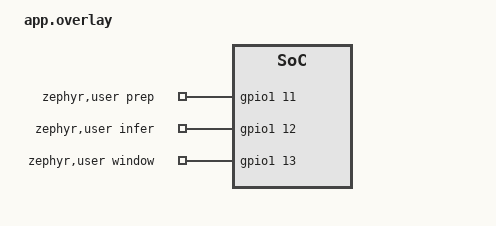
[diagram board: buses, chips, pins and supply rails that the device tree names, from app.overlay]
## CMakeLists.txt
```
# SPDX-License-Identifier: Apache-2.0

cmake_minimum_required(VERSION 3.20.0)

find_package(Zephyr REQUIRED HINTS $ENV{ZEPHYR_BASE})
project(torus_early_exit)

target_sources(app PRIVATE src/main.c src/ee_math.c src/ee_pipeline.cpp src/ee_tflm_compat.cpp)
# ee_tflm_compat.cpp: int16 TRANSPOSE for TFLM 48613f7 (used only by int16 builds, i.e. TinierHAR; the linker drops
# it from the int8 builds).

# ee_math.c implements the arithmetic shared with the Python host reference
# (EE_INTERFACE.md, including TinierHAR's float32 C tail): keep multiply-adds unfused so its rounding matches the host.
set_source_files_properties(src/ee_math.c PROPERTIES COMPILE_OPTIONS "-ffp-contract=off")

# As in Zephyr's own TFLM samples: Zephyr does not support the C++ ABI for thread-safe
# initialisation of function-local statics, so turn the guards off (ee_pipeline.cpp has
# no function-local statics; this keeps libsupc++'s guard / exception code out of the image).
set(NO_THREADSAFE_STATICS $<TARGET_PROPERTY:compiler-cpp,no_threadsafe_statics>)
zephyr_compile_options($<$<COMPILE_LANGUAGE:CXX>:${NO_THREADSAFE_STATICS}>)

# Backbone / option selection from the west command line (always build pristine, -p):
#   west build -b nrf54l15dk/nrf54l15/cpuapp -p -- -DEE_BACKBONE=DCL -DEE_FORCE_EXIT=2
# EE_BACKBONE is TCN (default), TINIERHAR or DCL; the other options are the macros
# documented in src/ee_select.h. To hard-wire a backbone here instead, use e.g.
#   target_compile_definitions(app PRIVATE EE_BACKBONE_DCL)
# west builds with sysbuild by default (NCS 3.x). A -D after "--" then goes to the sysbuild
# cache, not to this application's CMake cache, so a plain if(DEFINED EE_BACKBONE) would
# never see it and the build would silently keep the defaults. zephyr_get() reads the
# sysbuild cache (EE_X or <image>_EE_X), then the CMake cache (--no-sysbuild), then the
# environment.
zephyr_get(EE_BACKBONE)
if(DEFINED EE_BACKBONE)
  if(NOT EE_BACKBONE MATCHES "^(TCN|TINIERHAR|DCL)$")
    message(FATAL_ERROR "EE_BACKBONE must be TCN, TINIERHAR or DCL (got '${EE_BACKBONE}')")
  endif()
  target_compile_definitions(app PRIVATE EE_BACKBONE_${EE_BACKBONE})
  message(STATUS "Early-exit firmware: EE_BACKBONE=${EE_BACKBONE} (from the command line)")
else()
  message(STATUS "Early-exit firmware: EE_BACKBONE not given, src/ee_select.h decides (TCN unless edited)")
endif()
foreach(opt EE_FORCE_EXIT EE_SELF_TEST EE_INFERENCE_IDLE_MS EE_WARMUP_ITERATIONS
            EE_USE_WINDOW_MARKER EE_LOG_BREAKDOWN EE_PART_TIMER_DWT)
  zephyr_get(${opt})
  if(DEFINED ${opt})
    target_compile_definitions(app PRIVATE ${opt}=${${opt}})
    message(STATUS "Early-exit firmware: ${opt}=${${opt}} (from the command line)")
  endif()
endforeach()
```

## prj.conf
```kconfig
# TensorFlow Lite Micro configuration for activity recognition project
CONFIG_CPP=y
CONFIG_REQUIRES_FULL_LIBC=y
CONFIG_TENSORFLOW_LITE_MICRO=y
CONFIG_TENSORFLOW_LITE_MICRO_CMSIS_NN_KERNELS=y
CONFIG_STD_CPP17=y
CONFIG_NEWLIB_LIBC=y
CONFIG_CMSIS_NN=y
CONFIG_MAIN_STACK_SIZE=8192
CONFIG_FPU=y
CONFIG_CBPRINTF_FP_SUPPORT=y
CONFIG_FPU_SHARING=y
CONFIG_LOG_MODE_IMMEDIATE=y
CONFIG_CMSIS_NN_LSTM=y
CONFIG_CMSIS_NN_ACTIVATION=y
CONFIG_CMSIS_NN_BASICMATH=y
CONFIG_CMSIS_NN_CONCATENATION=y
CONFIG_CMSIS_NN_CONVOLUTION=y
CONFIG_CMSIS_NN_FULLYCONNECTED=y
CONFIG_CMSIS_NN_NNSUPPORT=y
CONFIG_CMSIS_NN_POOLING=y
CONFIG_CMSIS_NN_RESHAPE=y
CONFIG_CMSIS_NN_SOFTMAX=y
CONFIG_CMSIS_NN_SVD=y

# LOG
CONFIG_LOG=y
CONFIG_USE_SEGGER_RTT=y
CONFIG_LOG_BACKEND_RTT=y
CONFIG_LOG_BACKEND_UART=n
CONFIG_RTT_CONSOLE=n
CONFIG_STDOUT_CONSOLE=n
CONFIG_SEGGER_RTT_BUFFER_SIZE_UP=4096  
CONFIG_LOG_BUFFER_SIZE=8192
CONFIG_UART_CONSOLE=n
CONFIG_CONSOLE=n
CONFIG_SERIAL=n

# Enable GPIO
CONFIG_GPIO=y
CONFIG_I2C=y
CONFIG_SPI=y

# Enable multithread
CONFIG_MULTITHREADING=y

# Enable DSP
CONFIG_CMSIS_DSP=y
CONFIG_CMSIS_DSP_FILTERING=y
CONFIG_CMSIS_DSP_TRANSFORM=y
CONFIG_CMSIS_DSP_STATISTICS=y
CONFIG_CMSIS_DSP_FASTMATH=y
CONFIG_RING_BUFFER=y

# Stack sizes
CONFIG_ISR_STACK_SIZE=1536
CONFIG_IDLE_STACK_SIZE=512
CONFIG_SYSTEM_WORKQUEUE_STACK_SIZE=1536

CONFIG_PM_DEVICE=y
CONFIG_USB_DEVICE_STACK=n
CONFIG_RAM_POWER_DOWN_LIBRARY=y 
CONFIG_PM=y
CONFIG_PM_DEVICE_RUNTIME=y

# nRF54L boards enable nRF Security (PSA crypto, CRACEN) by default for the RNG; this firmware uses no
# cryptography or entropy, so leave it out: ~110 fewer build steps, -6.6 KB flash, -1.6 KB RAM.
CONFIG_NRF_SECURITY=n
```

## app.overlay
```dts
/*
 * Board overlay: PPK2 marker GPIOs for the nRF54L15 DK.
 *
 * Three outputs are exposed under /zephyr,user:
 *   prep-gpios    — high during preprocessing
 *   infer-gpios   — high during inference
 *   window-gpios  — toggles once per measurement window (optional)
 *
 * Pins: P1.11 / P1.12 / P1.13 on the nRF54L15 DK. P1.11 and P1.12 are not
 * used by any node in the NCS 3.0.2 board files. P1.13 IS push button 0
 * (sw0, button0 in nrf54l15dk_common.dtsi, pull-up, active low): the gpio-keys
 * driver is not enabled in prj.conf (no CONFIG_INPUT), so nothing else drives
 * it, but pressing button 0 shorts the window marker to GND -- do not press
 * it during a PPK2 capture, or move window-gpios to a free pin. Verify
 * against YOUR board pinout and adjust the pin numbers before flashing; if
 * the port/pin belongs to another node in the base DTS, you will also need
 * to disable that node.
 *
 * To use a pin on gpio0 or gpio2 instead of gpio1, change the phandle
 * (&gpio0 / &gpio1 / &gpio2) and pin number accordingly.
 *
 * If you rename this file with a board-specific suffix (e.g.
 * nrf54l15dk_nrf54l15_cpuapp.overlay), Zephyr applies it automatically
 * for that board only — useful once you port to other targets.
 */

/ {
	zephyr,user {
		prep-gpios   = <&gpio1 11  GPIO_ACTIVE_HIGH>;
		infer-gpios  = <&gpio1 12  GPIO_ACTIVE_HIGH>;
		window-gpios = <&gpio1 13 GPIO_ACTIVE_HIGH>;
	};
};
```

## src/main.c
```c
/*
 * TORUS early-exit HAR benchmark -- nRF54L15 DK
 * ============================================
 *
 * Deployment characterisation of the early-exit pipeline of the paper:
 * a rotation-trained backbone (TCN-Small, TinierHAR or DeepConvLSTM-0.25,
 * chosen in ee_select.h) trained on TORUS-9, cut at three taps into four
 * TFLite Micro stage models (int8 weights; int8 activations, or int16 for
 * TinierHAR), with a stats-pooling + linear "rotation-fitted" head after
 * each of the first three stages and per-exit entropy thresholds
 * (lambda = 0.4).  TinierHAR's BiGRU + attention + dense layers run after
 * stage 4 as a float32 C tail (ee_math.c).  All constants come from the
 * headers that export_ee_firmware.py generates (see README_EE.md and
 * EE_INTERFACE.md).
 *
 * Purpose: flash footprint, tensor-arena RAM, per-window latency of
 * preprocessing and of the early-exit inference, and per-window energy on
 * the PPK2.  Input is synthetic (seeded LCG, bounded, per channel uniform in
 * mean +- 3 std of the training scaler) to remove the sensor pipeline from
 * the measurement.  Synthetic windows are far from the training data, so the
 * thresholds will mostly let them run to the final exit; build with
 * EE_FORCE_EXIT = 0..3 to measure each exit path, and with EE_SELF_TEST = 1
 * to check exits / classes / entropies on real windows against the host.
 *
 * What is measured
 * ----------------
 *   prep   : per-channel standardisation of one raw window (float [t][c]),
 *            x_std = (raw - mean) / std.  Nothing else.
 *   infer  : ee_run(): input quantisation, the stage invokes that run, the
 *            exit heads that are evaluated, the requantisations between
 *            stages, the C tail after stage 4 (TinierHAR, final exit only)
 *            and the exit decision.  The per-part breakdown line reports
 *            each part; "other" is the remainder (timer reads, mutex,
 *            argmax, loop overhead).
 * What is NOT measured
 * --------------------
 *   - Window acquisition (the synthetic generator runs before the prep
 *     marker goes high).
 *   - Pressure detrending: channel 7 of TORUS-9 is *detrended* barometric
 *     pressure.  Detrending is done offline on the host before
 *     standardisation and is NOT part of the preprocessing measured here;
 *     the synthetic generator produces already-detrended values.  A real
 *     deployment needs an on-line detrending filter, whose cost is extra.
 *   - Logging (happens after both markers are low).
 *
 * GPIO ordering for PPK2: gpio_set -> k_cycle_get -> work -> k_cycle_get
 * -> gpio_clear.  The cycle-counter region is strictly enclosed by the
 * GPIO-high region, so the two measurements agree to within ~1-2 us
 * (two gpio_pin_set_dt calls).  A larger mismatch signals an interrupted
 * measurement window; flag and discard such iterations in post-processing.
 *
 * Two clocks (both named at start-up, after ee_init):
 *   - prep / infer (headline line): k_cycle_get_32() ticks (system timer, the
 *     1 MHz GRTC on the nRF54L15), converted with k_cyc_to_us_floor32(), whole
 *     microseconds, as in the previous benchmark.
 *   - the per-part breakdown line: ticks of the part timer chosen by ee_init()
 *     (ee_part_timer_hz(): the 128 MHz DWT cycle counter with
 *     EE_PART_TIMER_DWT = 1, else k_cycle_get_32()), printed in 0.1 us.
 */

#include <math.h>
#include <stdarg.h>
#include <stdbool.h>
#include <stddef.h>
#include <stdint.h>
#include <string.h>
#include <zephyr/kernel.h>
#include <zephyr/device.h>
#include <zephyr/logging/log.h>
#include <zephyr/sys/printk.h>
#include <zephyr/drivers/gpio.h>
#include <zephyr/pm/device.h>
#include "ram_pwrdn.h"

#include "ee_select.h"
#include EE_CONFIG_HEADER
#include "ee_math.h"
#include "ee_pipeline.h"
#if EE_SELF_TEST
#include EE_TESTVEC_HEADER
#endif

LOG_MODULE_REGISTER(torus_ee, LOG_LEVEL_INF);

#define WINDOW_ELEMS (EE_WINDOW_SAMPLES * EE_NUM_CHANNELS)

/* -------------------- GPIO markers for PPK2 -------------------- */

static const struct gpio_dt_spec prep_gpio =
    GPIO_DT_SPEC_GET(DT_PATH(zephyr_user), prep_gpios);
static const struct gpio_dt_spec infer_gpio =
    GPIO_DT_SPEC_GET(DT_PATH(zephyr_user), infer_gpios);
#if EE_USE_WINDOW_MARKER
static const struct gpio_dt_spec window_gpio =
    GPIO_DT_SPEC_GET(DT_PATH(zephyr_user), window_gpios);
static bool window_marker_ok;
#endif

static int init_marker_gpios(void)
{
    if (!gpio_is_ready_dt(&prep_gpio) || !gpio_is_ready_dt(&infer_gpio)) {
        LOG_ERR("Marker GPIOs not ready");
        return -1;
    }
    gpio_pin_configure_dt(&prep_gpio, GPIO_OUTPUT_INACTIVE);
    gpio_pin_configure_dt(&infer_gpio, GPIO_OUTPUT_INACTIVE);
#if EE_USE_WINDOW_MARKER
    if (!gpio_is_ready_dt(&window_gpio)) {
        LOG_WRN("Window marker GPIO not ready (non-fatal)");
        window_marker_ok = false;
    } else {
        gpio_pin_configure_dt(&window_gpio, GPIO_OUTPUT_INACTIVE);
        window_marker_ok = true;
    }
#endif
    return 0;
}

/* -------------------- Synthetic input generator --------------------
 *
 * Seeded LCG -- reproducible across runs (same constants and seed as the
 * previous single-model benchmark).  Each channel c is uniform in
 * [mean[c] - 3 std[c], mean[c] + 3 std[c]] of the training scaler, so the
 * standardised input lies in [-3, 3].  The compute graph executes the same
 * operations regardless of input value; with early exits, however, WHICH
 * exit is taken depends on the input, hence EE_FORCE_EXIT for per-path
 * measurements.
 */

#define SYNTH_SEED 0x12345678u

static uint32_t rng_state = SYNTH_SEED;

static inline float next_random_float(float min_val, float max_val)
{
    rng_state = rng_state * 1103515245u + 12345u;
    float r = (float)((rng_state >> 16) & 0x7FFF) / 32767.0f;
    return min_val + r * (max_val - min_val);
}

static void fill_window_synthetic(float *raw)
{
    for (int t = 0; t < EE_WINDOW_SAMPLES; t++) {
        for (int c = 0; c < EE_NUM_CHANNELS; c++) {
            const float half = 3.0f * EE_SCALER_STD[c];
            raw[t * EE_NUM_CHANNELS + c] =
                next_random_float(EE_SCALER_MEAN[c] - half, EE_SCALER_MEAN[c] + half);
        }
    }
}

/* -------------------- Static buffers -------------------- */

/* Raw window, [t][c] (acc xyz, gyro xyz, detrended pressure for TORUS-9). */
static float raw_window[WINDOW_ELEMS];

/* Standardised window consumed by ee_run(). */
static float x_std[WINDOW_ELEMS];

/* -------------------- Logging helpers -------------------- */

static const char *exit_name(int k)
{
    static const char *const names[EE_PIPE_NUM_STAGES] = {"1", "2", "3", "final"};
    return (k >= 0 && k < EE_PIPE_NUM_STAGES) ? names[k] : "none";
}

static const char *class_name(int c)
{
    return (c >= 0 && c < EE_NUM_CLASSES) ? EE_CLASS_NAMES[c] : "?";
}

/* Bounded append into a log line (integers and strings only).  Uses
 * Zephyr's vsnprintk (cbprintf, the formatter the logger already links)
 * rather than newlib's vsnprintf, which would add its own float-capable
 * printf core to the measured flash footprint. */
static void __attribute__((format(printf, 4, 5)))
line_append(char *buf, size_t cap, size_t *len, const char *fmt, ...)
{
    if (*len + 1 >= cap) {
        return;
    }
    va_list ap;
    va_start(ap, fmt);
    const int n = vsnprintk(buf + *len, cap - *len, fmt, ap);
    va_end(ap);
    if (n > 0) {
        *len += (size_t)n;
        if (*len >= cap) {
            *len = cap - 1;
        }
    }
}

#if EE_LOG_BREAKDOWN
/* 1 when the selected backbone ends in the float32 C tail (set from
 * ee_get_info() in log_startup): the breakdown then reports "tail" after
 * stage 4 for windows that reach the final exit. */
static bool s_has_c_tail;

/* Entropy as "d.ddd" without float formatting. */
static void append_entropy(char *buf, size_t cap, size_t *len, const char *label, float h)
{
    const long mh = lroundf(h * 1000.0f);
    line_append(buf, cap, len, " %s=%ld.%03ld", label, mh / 1000, mh % 1000);
}

/* Timer ticks at hz ticks/s -> tenths of a microsecond, rounded to nearest
 * (64-bit intermediate: ticks * 10^7 < 2^56; saturates at UINT32_MAX, i.e.
 * after 429 s, far beyond one window). */
static uint32_t ticks_to_tenth_us(uint32_t ticks, uint32_t hz)
{
    if (hz == 0u) {
        return 0u;
    }
    const uint64_t t = ((uint64_t)ticks * 10000000u + hz / 2u) / hz;
    return (t > UINT32_MAX) ? UINT32_MAX : (uint32_t)t;
}

/* " <label>=<us>.<tenth>" from tenths of a microsecond (integer formatting,
 * vsnprintk-compatible). */
static void append_tenth_us(char *buf, size_t cap, size_t *len, const char *label,
                            uint32_t tenths)
{
    line_append(buf, cap, len, " %s=%u.%u", label, (unsigned int)(tenths / 10u),
                (unsigned int)(tenths % 10u));
}

/* infer_cycles: k_cycle_get_32() ticks of the whole ee_run() (the headline
 * infer value); the parts are in part-timer ticks (ee_part_timer_hz()). */
static void log_breakdown(const ee_result_t *r, uint32_t infer_cycles)
{
    const uint32_t part_hz = ee_part_timer_hz();
    char buf[320];
    char label[16];
    size_t len = 0;
    uint64_t parts = 0; /* sum of the printed parts, tenths of a us */
    uint32_t t;

    buf[0] = '\0';
    line_append(buf, sizeof(buf), &len, "  parts us:");
    t = ticks_to_tenth_us(r->cycles_quant, part_hz);
    append_tenth_us(buf, sizeof(buf), &len, "quant", t);
    parts += t;
    line_append(buf, sizeof(buf), &len, " |");
    for (int s = 0; s < r->stages_run && s < EE_PIPE_NUM_STAGES; s++) {
        snprintk(label, sizeof(label), "stage%d", s + 1);
        t = ticks_to_tenth_us(r->cycles_stage[s], part_hz);
        append_tenth_us(buf, sizeof(buf), &len, label, t);
        parts += t;
    }
    if (s_has_c_tail && r->exit_taken == EE_PIPE_EXIT_FINAL) {
        t = ticks_to_tenth_us(r->cycles_tail, part_hz);
        append_tenth_us(buf, sizeof(buf), &len, "tail", t);
        parts += t;
    }
    line_append(buf, sizeof(buf), &len, " |");
    for (int k = 0; k < EE_PIPE_NUM_EARLY_EXITS; k++) {
        if (r->entropy[k] >= 0.0f) {
            snprintk(label, sizeof(label), "head%d", k + 1);
            t = ticks_to_tenth_us(r->cycles_head[k], part_hz);
            append_tenth_us(buf, sizeof(buf), &len, label, t);
            parts += t;
        }
    }
    line_append(buf, sizeof(buf), &len, " |");
    for (int k = 0; k + 1 < r->stages_run && k < EE_PIPE_NUM_EARLY_EXITS; k++) {
        snprintk(label, sizeof(label), "requant%d-%d", k + 1, k + 2);
        t = ticks_to_tenth_us(r->cycles_requant[k], part_hz);
        append_tenth_us(buf, sizeof(buf), &len, label, t);
        parts += t;
    }
    /* other = infer - sum(parts), clamped at 0.  infer comes from
     * k_cycle_get_32() (1 us ticks on the GRTC) and the parts from the part
     * timer (the DWT cycle counter by default): with two clocks, and infer
     * quantised to whole ticks, "other" is approximate to about +-1 us. */
    const uint32_t infer_t = ticks_to_tenth_us(infer_cycles,
                                               (uint32_t)sys_clock_hw_cycles_per_sec());
    const uint32_t other = ((uint64_t)infer_t > parts) ? (uint32_t)(infer_t - parts) : 0u;
    line_append(buf, sizeof(buf), &len, " |");
    append_tenth_us(buf, sizeof(buf), &len, "other", other);
    line_append(buf, sizeof(buf), &len, " |");
    for (int k = 0; k < EE_PIPE_NUM_EARLY_EXITS; k++) {
        if (r->entropy[k] >= 0.0f) {
            snprintk(label, sizeof(label), "H%d", k + 1);
            append_entropy(buf, sizeof(buf), &len, label, r->entropy[k]);
        }
    }
    LOG_INF("%s", buf);
}
#endif

static void log_startup(void)
{
    ee_info_t info;
    char buf[256];
    size_t len = 0;

    ee_get_info(&info);

    LOG_INF("TORUS early-exit HAR benchmark (synthetic input)");
    LOG_INF("  Backbone      : %s (%s, LOSO subject %d)", EE_BACKBONE_NAME, EE_DATASET_NAME,
            (int)EE_SUBJECT);
    LOG_INF("  Window        : %d samples x %d channels @ %d Hz", EE_WINDOW_SAMPLES,
            EE_NUM_CHANNELS, EE_SAMPLE_RATE_HZ);
    LOG_INF("  Activations   : int%d stage I/O and activations, int8 weights%s", info.act_bits,
            (info.act_bits == 16) ? " (TFLite 16x8)" : "");
    if (info.has_c_tail) {
        LOG_INF("  C tail        : stage 4 output %d x %d -> BiGRU(%d per direction) + attention + "
                "dense, float32 (%u parameters, %u B buffers)",
                info.tail_t, info.tail_d, info.tail_h, info.tail_params, info.tail_ram_bytes);
    } else {
        LOG_INF("  C tail        : none (stage 4 ends at the backbone's softmax)");
    }
#if EE_LOG_BREAKDOWN
    s_has_c_tail = (info.has_c_tail != 0);
#endif

    buf[0] = '\0';
    for (int c = 0; c < EE_NUM_CHANNELS; c++) {
        line_append(buf, sizeof(buf), &len, "%s%s", c ? ", " : "", EE_CHANNEL_NAMES[c]);
    }
    LOG_INF("  Channels      : %s", buf);

    len = 0;
    buf[0] = '\0';
    for (int c = 0; c < EE_NUM_CLASSES; c++) {
        line_append(buf, sizeof(buf), &len, "%s%s", c ? ", " : "", EE_CLASS_NAMES[c]);
    }
    LOG_INF("  Classes (%d)   : %s", EE_NUM_CLASSES, buf);

    LOG_INF("  Policy        : lambda = %s, thresholds searched on '%s' validation windows",
            info.lambda_str, info.threshold_set);
    for (int k = 0; k < EE_PIPE_NUM_EARLY_EXITS; k++) {
        if (info.exit_enabled[k]) {
            LOG_INF("  Exit %d        : enabled, stop if H < %.4f nats | tap %d x %d | "
                    "%.4f MFLOP",
                    k + 1, (double)info.threshold[k], info.tap_t[k], info.tap_p[k],
                    (double)(info.exit_flops[k] * 1e-6f));
        } else {
            LOG_INF("  Exit %d        : disabled (head never evaluated) | tap %d x %d | "
                    "%.4f MFLOP",
                    k + 1, info.tap_t[k], info.tap_p[k], (double)(info.exit_flops[k] * 1e-6f));
        }
    }
    LOG_INF("  Exit final    : %.4f MFLOP (backbone alone %.4f MFLOP)",
            (double)(info.exit_flops[EE_PIPE_EXIT_FINAL] * 1e-6f),
            (double)(info.full_flops * 1e-6f));

#if EE_FORCE_EXIT < 0
    LOG_INF("  Force exit    : off (entropy thresholds decide)");
#else
    LOG_INF("  Force exit    : always leave at exit %s (enabled heads before it are evaluated)",
            exit_name(EE_FORCE_EXIT));
#if EE_FORCE_EXIT < EE_PIPE_EXIT_FINAL
    if (!info.exit_enabled[EE_FORCE_EXIT]) {
        LOG_WRN("  exit %s is disabled in this policy; its head is evaluated only because it "
                "is forced", exit_name(EE_FORCE_EXIT));
    }
#endif
#endif
    LOG_INF("  Self-test     : %s", EE_SELF_TEST ? "on" : "off");
    LOG_INF("  Idle / warm-up: %d ms between windows, %d warm-up windows",
            EE_INFERENCE_IDLE_MS, EE_WARMUP_ITERATIONS);
}

/* Logged after ee_init(), which chooses the part timer. */
static void log_timers(void)
{
    LOG_INF("  Timers        : prep/infer = k_cycle_get_32 @ %u Hz (us); "
            "parts = %s @ %u Hz (0.1 us)",
            (unsigned int)sys_clock_hw_cycles_per_sec(), ee_part_timer_name(),
            (unsigned int)ee_part_timer_hz());
}

/* -------------------- Self-test against host reference -------------------- */

#if EE_SELF_TEST
static void run_self_test(void)
{
    int exits_ok = 0;
    int classes_ok = 0;
    int labels_ok = 0;
    int eval_set_mismatch = 0;
    int run_errors = 0;
    float max_dh = 0.0f;

    LOG_INF("self-test: %d vectors (thresholds decide; EE_FORCE_EXIT not applied)",
            EE_TV_COUNT);

    for (int i = 0; i < EE_TV_COUNT; i++) {
        ee_result_t r;

        ee_standardise(EE_TV_RAW[i], EE_SCALER_MEAN, EE_SCALER_STD, EE_WINDOW_SAMPLES,
                       EE_NUM_CHANNELS, x_std);
        const int rc = ee_run(x_std, -1, &r);
        if (rc != 0) {
            LOG_ERR("tv %d: ee_run failed (%d)", i, rc);
            run_errors++;
            continue;
        }

        const bool exit_ok = (r.exit_taken == EE_TV_EXIT[i]);
        const bool class_ok = (r.predicted_class == EE_TV_CLASS[i]);
        bool set_ok = true;
        float dh = 0.0f;
        for (int k = 0; k < EE_PIPE_NUM_EARLY_EXITS; k++) {
            const bool exp_eval = (EE_TV_ENTROPY[i][k] >= 0.0f);
            const bool got_eval = (r.entropy[k] >= 0.0f);
            if (exp_eval != got_eval) {
                set_ok = false;
            } else if (exp_eval) {
                const float d = fabsf(r.entropy[k] - EE_TV_ENTROPY[i][k]);
                if (d > dh) {
                    dh = d;
                }
            }
        }
        if (dh > max_dh) {
            max_dh = dh;
        }
        exits_ok += exit_ok ? 1 : 0;
        classes_ok += class_ok ? 1 : 0;
        labels_ok += (r.predicted_class == EE_TV_LABEL[i]) ? 1 : 0;
        eval_set_mismatch += set_ok ? 0 : 1;

        LOG_INF("tv %2d: label %s | exit %s (host %s) | class %s (host %s) | "
                "max|dH| %.2e %s",
                i, class_name(EE_TV_LABEL[i]), exit_name(r.exit_taken),
                exit_name(EE_TV_EXIT[i]), class_name(r.predicted_class),
                class_name(EE_TV_CLASS[i]), (double)dh,
                (exit_ok && class_ok && set_ok) ? "OK" : "MISMATCH");
    }

    LOG_INF("self-test: exits %d/%d, classes %d/%d, max |dH| = %.3e", exits_ok, EE_TV_COUNT,
            classes_ok, EE_TV_COUNT, (double)max_dh);
    LOG_INF("self-test: true-label hits %d/%d", labels_ok, EE_TV_COUNT);
    if (eval_set_mismatch > 0) {
        LOG_WRN("self-test: %d vectors evaluated a different set of exits than the host",
                eval_set_mismatch);
    }
    if (run_errors > 0) {
        LOG_ERR("self-test: %d vectors failed to run", run_errors);
    }
}
#endif

/* -------------------- Inference pipeline -------------------- */

static void run_one_inference(bool log_result)
{
    ee_result_t res;

    /* --- Window acquisition (not measured) --- */
    fill_window_synthetic(raw_window);

    /* --- Preprocessing (GPIO-marked): standardisation only --- */
    gpio_pin_set_dt(&prep_gpio, 1);
    uint32_t prep_start = k_cycle_get_32();

    ee_standardise(raw_window, EE_SCALER_MEAN, EE_SCALER_STD, EE_WINDOW_SAMPLES,
                   EE_NUM_CHANNELS, x_std);

    uint32_t prep_end = k_cycle_get_32();
    gpio_pin_set_dt(&prep_gpio, 0);

    /* --- Inference (GPIO-marked): the early-exit cascade --- */
    gpio_pin_set_dt(&infer_gpio, 1);
    uint32_t inf_start = k_cycle_get_32();

    int rc = ee_run(x_std, EE_FORCE_EXIT, &res);

    uint32_t inf_end = k_cycle_get_32();
    gpio_pin_set_dt(&infer_gpio, 0);

    if (rc != 0) {
        LOG_ERR("ee_run failed (%d)", rc);
        return;
    }

    if (log_result) {
        LOG_INF("prep=%u us | infer=%u us | exit=%s | class=%s (%.1f%%)",
                (unsigned int)k_cyc_to_us_floor32(prep_end - prep_start),
                (unsigned int)k_cyc_to_us_floor32(inf_end - inf_start),
                exit_name(res.exit_taken), class_name(res.predicted_class),
                (double)(res.confidence * 100.0f));
#if EE_LOG_BREAKDOWN
        log_breakdown(&res, inf_end - inf_start);
#endif
    }
}

/* -------------------- Entry point -------------------- */

int main(void)
{
    log_startup();

    /* Power housekeeping */
    const struct device *sdhc_dev =
        DEVICE_DT_GET_OR_NULL(DT_NODELABEL(sdhc0));
    if (sdhc_dev && device_is_ready(sdhc_dev)) {
        pm_device_action_run(sdhc_dev, PM_DEVICE_ACTION_SUSPEND);
    }
    power_down_unused_ram();

    /* Marker GPIOs */
    if (init_marker_gpios() != 0) {
        return -1;
    }

    /* Early-exit runtime init (part timer, arena use per stage) */
    if (ee_init() != 0) {
        LOG_ERR("ee_init failed");
        return -1;
    }
    log_timers();

#if EE_SELF_TEST
    run_self_test();
#endif

    /* Warm-up: prime any lazy allocations, caches, etc. */
    LOG_INF("Warmup x%d", EE_WARMUP_ITERATIONS);
    for (int i = 0; i < EE_WARMUP_ITERATIONS; i++) {
        run_one_inference(false);
    }
    LOG_INF("Warmup complete; starting measurement loop");

    /* Main measurement loop */
    while (1) {
#if EE_USE_WINDOW_MARKER
        /* One edge per window on this pin -- use in post-processing to
         * count windows and align / segment the PPK2 trace.
         */
        if (window_marker_ok) {
            gpio_pin_toggle_dt(&window_gpio);
        }
#endif
        run_one_inference(true);

        /* Visible idle region so PPK2 can segment cleanly */
        k_msleep(EE_INFERENCE_IDLE_MS);
    }

    return 0;
}
```

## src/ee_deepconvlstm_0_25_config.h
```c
/*
 * Early-exit pipeline: input configuration (included by main.c).
 * GENERATED by export_ee_firmware.py -- do not edit by hand.
 * backbone deepconvlstm_0_25, dataset torus9, LOSO subject 540, lambda 0.4, thresholds on rot validation windows.
 * Contract: firmware/EE_INTERFACE.md
 */
#ifndef EE_DEEPCONVLSTM_0_25_CONFIG_H
#define EE_DEEPCONVLSTM_0_25_CONFIG_H

#define EE_BACKBONE_NAME   "deepconvlstm_0_25"
#define EE_DATASET_NAME    "torus9"
#define EE_SUBJECT         540
#define EE_SAMPLE_RATE_HZ  100
#define EE_WINDOW_SAMPLES  250
#define EE_NUM_CHANNELS    7
#define EE_NUM_CLASSES     9
#define EE_NUM_EXITS       4                 /* 3 early exits + final */

/* per-channel standardisation fitted on the fold's training windows: x_std = (raw - mean) / std */
static const float EE_SCALER_MEAN[EE_NUM_CHANNELS] = {-7.07164335f, -1.96823692f, -2.10296679f, 0.00855398644f, -0.0125188911f, 0.00998301711f, -0.0106359087f};
static const float EE_SCALER_STD[EE_NUM_CHANNELS]  = {4.97932625f, 3.81585646f, 3.59322667f, 1.22069478f, 0.683551729f, 1.31508851f, 0.0385832675f};

static const char *const EE_CLASS_NAMES[EE_NUM_CLASSES] = {"walking", "walking_brisk", "sitting", "standing", "lying", "up_normal", "up_assist", "down_normal", "down_assist"};
static const char *const EE_CHANNEL_NAMES[EE_NUM_CHANNELS] = {"acc_x", "acc_y", "acc_z", "gyro_x", "gyro_y", "gyro_z", "pressure"};

#endif /* EE_DEEPCONVLSTM_0_25_CONFIG_H */
```

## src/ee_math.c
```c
/*
 * ee_math.c -- arithmetic of the early-exit pipeline (pure C99)
 *
 * See ee_math.h and the "Exact arithmetic" and "C tail" sections of
 * EE_INTERFACE.md.  The loop orders below are part of the contract where
 * float accumulation is involved (pooling variance, head sums, softmax sums,
 * GRU projections, attention sums): each accumulates in increasing index
 * order.  CMakeLists.txt builds this file with -ffp-contract=off so the
 * Cortex-M33 does not fuse multiply-adds and the rounding matches the host
 * reference.
 */
#include "ee_math.h"

#include <math.h>
#include <string.h>

/* Clamp an integral float to the int8 range; NaN goes to -128. */
static int8_t clamp_to_int8(float r)
{
    if (!(r > -128.0f)) {
        return (int8_t)-128;
    }
    if (r > 127.0f) {
        return (int8_t)127;
    }
    return (int8_t)r;
}

float ee_round_half_away(float v)
{
    return roundf(v);
}

int8_t ee_quantise_value(float x, float scale, int zero_point)
{
    /* roundf(x / scale) is integral; adding zero_point in float is exact
     * whenever the result can land in [-128, 127]. */
    return clamp_to_int8(roundf(x / scale) + (float)zero_point);
}

float ee_dequantise_value(int8_t q, float scale, int zero_point)
{
    return scale * (float)((int)q - zero_point);
}

void ee_standardise(const float *raw, const float *mean, const float *std,
                    int n_samples, int n_channels, float *x_std)
{
    for (int t = 0; t < n_samples; t++) {
        const float *in = raw + (long)t * n_channels;
        float *out = x_std + (long)t * n_channels;
        for (int c = 0; c < n_channels; c++) {
            out[c] = (in[c] - mean[c]) / std[c];
        }
    }
}

void ee_quantise(const float *x, int n, float scale, int zero_point, int8_t *q)
{
    for (int i = 0; i < n; i++) {
        q[i] = ee_quantise_value(x[i], scale, zero_point);
    }
}

int ee_requantise(const int8_t *q_in, int n, float scale_in, int zp_in,
                  float scale_out, int zp_out, int8_t *q_out)
{
    if (scale_in == scale_out && zp_in == zp_out) {
        if (q_out != q_in && n > 0) {
            memmove(q_out, q_in, (size_t)n);
        }
        return 1;
    }

    const float ratio = scale_in / scale_out;
    const float zp_o = (float)zp_out;
    for (int i = 0; i < n; i++) {
        const float v = (float)((int)q_in[i] - zp_in) * ratio;
        q_out[i] = clamp_to_int8(roundf(v) + zp_o);
    }
    return 0;
}

void ee_stats_pool(const int8_t *q, int T, int P, float scale, int zero_point,
                   float *feat)
{
    const float zp = (float)zero_point;
    const float t_f = (float)T;

    for (int p = 0; p < P; p++) {
        /* Pass 1: integer sum and maximum. */
        int32_t sum = 0;
        int maxq = -128;
        for (int t = 0; t < T; t++) {
            const int v = q[(long)t * P + p];
            sum += v;
            if (v > maxq) {
                maxq = v;
            }
        }
        const float mq = (float)sum / t_f;

        /* Pass 2: float sum of squared deviations, increasing t. */
        float acc = 0.0f;
        for (int t = 0; t < T; t++) {
            const float d = (float)q[(long)t * P + p] - mq;
            acc += d * d;
        }
        const float var = acc / t_f;

        feat[p]         = scale * (mq - zp);
        feat[P + p]     = scale * ((float)maxq - zp);
        feat[2 * P + p] = scale * sqrtf(var);
    }
}

void ee_linear_head(const float *feat, int D, const float *W, const float *b,
                    int K, float *logits)
{
    /* Accumulator starts at b[j], then adds feat[d] * W[d][j] in increasing d
     * (the order of export_ee_firmware.py's host reference).  d-outer /
     * j-inner keeps the W reads contiguous without changing that order. */
    for (int j = 0; j < K; j++) {
        logits[j] = b[j];
    }
    for (int d = 0; d < D; d++) {
        const float f = feat[d];
        const float *row = W + (long)d * K;
        for (int j = 0; j < K; j++) {
            logits[j] += f * row[j];
        }
    }
}

float ee_softmax_entropy(const float *logits, int K, float *probs)
{
    float m = logits[0];
    for (int j = 1; j < K; j++) {
        if (logits[j] > m) {
            m = logits[j];
        }
    }

    float sum = 0.0f;
    for (int j = 0; j < K; j++) {
        const float e = expf(logits[j] - m);
        probs[j] = e;
        sum += e;
    }

    float acc = 0.0f;
    for (int j = 0; j < K; j++) {
        const float p = probs[j] / sum;
        probs[j] = p;
        acc += p * logf(p + EE_ENTROPY_EPS);
    }
    return -acc;
}

int ee_argmax_f32(const float *v, int n)
{
    int best = 0;
    for (int i = 1; i < n; i++) {
        if (v[i] > v[best]) {
            best = i;
        }
    }
    return best;
}

int ee_argmax_i8(const int8_t *v, int n)
{
    int best = 0;
    for (int i = 1; i < n; i++) {
        if (v[i] > v[best]) {
            best = i;
        }
    }
    return best;
}

/* ======================================================================
 * int16 stage tensors (EE_ACT_BITS == 16, TFLite 16x8).  Same formulas and
 * loop orders as the int8 functions above; only the type and the clamping
 * range differ.
 * ====================================================================== */

/* Clamp an integral float to the int16 range; NaN goes to -32768. */
static int16_t clamp_to_int16(float r)
{
    if (!(r > -32768.0f)) {
        return (int16_t)-32768;
    }
    if (r > 32767.0f) {
        return (int16_t)32767;
    }
    return (int16_t)r;
}

int16_t ee_quantise_value_i16(float x, float scale, int zero_point)
{
    /* roundf(x / scale) is integral; adding zero_point in float is exact
     * whenever the result can land in [-32768, 32767]. */
    return clamp_to_int16(roundf(x / scale) + (float)zero_point);
}

float ee_dequantise_value_i16(int16_t q, float scale, int zero_point)
{
    return scale * (float)((int)q - zero_point);
}

void ee_quantise_i16(const float *x, int n, float scale, int zero_point, int16_t *q)
{
    for (int i = 0; i < n; i++) {
        q[i] = ee_quantise_value_i16(x[i], scale, zero_point);
    }
}

int ee_requantise_i16(const int16_t *q_in, int n, float scale_in, int zp_in,
                      float scale_out, int zp_out, int16_t *q_out)
{
    if (scale_in == scale_out && zp_in == zp_out) {
        if (q_out != q_in && n > 0) {
            memmove(q_out, q_in, (size_t)n * sizeof(int16_t));
        }
        return 1;
    }

    const float ratio = scale_in / scale_out;
    const float zp_o = (float)zp_out;
    for (int i = 0; i < n; i++) {
        const float v = (float)((int)q_in[i] - zp_in) * ratio;
        q_out[i] = clamp_to_int16(roundf(v) + zp_o);
    }
    return 0;
}

void ee_stats_pool_i16(const int16_t *q, int T, int P, float scale, int zero_point,
                       float *feat)
{
    const float zp = (float)zero_point;
    const float t_f = (float)T;

    for (int p = 0; p < P; p++) {
        /* Pass 1: integer sum (int32: |sum| <= T * 32768) and maximum. */
        int32_t sum = 0;
        int maxq = -32768;
        for (int t = 0; t < T; t++) {
            const int v = q[(long)t * P + p];
            sum += v;
            if (v > maxq) {
                maxq = v;
            }
        }
        const float mq = (float)sum / t_f;

        /* Pass 2: float sum of squared deviations, increasing t. */
        float acc = 0.0f;
        for (int t = 0; t < T; t++) {
            const float d = (float)q[(long)t * P + p] - mq;
            acc += d * d;
        }
        const float var = acc / t_f;

        feat[p]         = scale * (mq - zp);
        feat[P + p]     = scale * ((float)maxq - zp);
        feat[2 * P + p] = scale * sqrtf(var);
    }
}

int ee_argmax_i16(const int16_t *v, int n)
{
    int best = 0;
    for (int i = 1; i < n; i++) {
        if (v[i] > v[best]) {
            best = i;
        }
    }
    return best;
}

/* ======================================================================
 * C tail: bidirectional GRU and attention pooling in float32
 * (EE_INTERFACE.md, "C tail").
 * ====================================================================== */

static float sigmoid_f(float v)
{
    return 1.0f / (1.0f + expf(-v));
}

/* One GRU step, h <- GRU(x, h), Keras reset_after=True.  Both projections
 * use the previous h (hp is computed before h is updated); h[j] is updated
 * in place from its own old value only. */
static void gru_step(const float *x, int D, const ee_gru_weights_t *w, int H,
                     float *h, float *xp, float *hp)
{
    const int G = 3 * H;
    ee_linear_head(x, D, w->W, w->bi, G, xp); /* xp[j] = bi[j] + sum_d x[d] W[d][j] */
    ee_linear_head(h, H, w->U, w->br, G, hp); /* hp[j] = br[j] + sum_u h[u] U[u][j] */
    for (int j = 0; j < H; j++) {
        const float z = sigmoid_f(xp[j] + hp[j]);
        const float r = sigmoid_f(xp[H + j] + hp[H + j]);
        const float n = tanhf(xp[2 * H + j] + r * hp[2 * H + j]);
        h[j] = z * h[j] + (1.0f - z) * n;
    }
}

/* One GRU direction over q (exactly one of q8 / q16 is non-NULL).  reverse:
 * 0 = t from 0 to T-1, 1 = t from T-1 to 0.  The state after the step at time
 * t goes to out[t * stride + j] (j < H), so the output is in time order. */
static void gru_direction(const int8_t *q8, const int16_t *q16, int T, int D,
                          float scale, int zero_point, int H,
                          const ee_gru_weights_t *w, int reverse, float *out,
                          int stride, float *scratch)
{
    float *x = scratch;       /* [D]  dequantised input of the current step */
    float *h = x + D;         /* [H]  state                                  */
    float *xp = h + H;        /* [3H] input projection                       */
    float *hp = xp + 3 * H;   /* [3H] recurrent projection                   */

    for (int j = 0; j < H; j++) {
        h[j] = 0.0f;
    }
    for (int i = 0; i < T; i++) {
        const int t = reverse ? (T - 1 - i) : i;
        const long base = (long)t * D;
        if (q8 != NULL) {
            for (int d = 0; d < D; d++) {
                x[d] = scale * (float)((int)q8[base + d] - zero_point);
            }
        } else {
            for (int d = 0; d < D; d++) {
                x[d] = scale * (float)((int)q16[base + d] - zero_point);
            }
        }
        gru_step(x, D, w, H, h, xp, hp);
        float *dst = out + (long)t * stride;
        for (int j = 0; j < H; j++) {
            dst[j] = h[j];
        }
    }
}

void ee_bigru_i8(const int8_t *q, int T, int D, float scale, int zero_point, int H,
                 const ee_gru_weights_t *fwd, const ee_gru_weights_t *bwd,
                 float *hseq, float *scratch)
{
    gru_direction(q, NULL, T, D, scale, zero_point, H, fwd, 0, hseq, 2 * H, scratch);
    gru_direction(q, NULL, T, D, scale, zero_point, H, bwd, 1, hseq + H, 2 * H, scratch);
}

void ee_bigru_i16(const int16_t *q, int T, int D, float scale, int zero_point, int H,
                  const ee_gru_weights_t *fwd, const ee_gru_weights_t *bwd,
                  float *hseq, float *scratch)
{
    gru_direction(NULL, q, T, D, scale, zero_point, H, fwd, 0, hseq, 2 * H, scratch);
    gru_direction(NULL, q, T, D, scale, zero_point, H, bwd, 1, hseq + H, 2 * H, scratch);
}

void ee_attention_pool(const float *hseq, int T, int C, const float *w, float b,
                       float *scores, float *feat)
{
    /* score_t = b + sum_c hseq[t][c] * w[c], increasing c. */
    for (int t = 0; t < T; t++) {
        const float *row = hseq + (long)t * C;
        float s = b;
        for (int c = 0; c < C; c++) {
            s += row[c] * w[c];
        }
        scores[t] = s;
    }

    float m = scores[0];
    for (int t = 1; t < T; t++) {
        if (scores[t] > m) {
            m = scores[t];
        }
    }

    /* e_t and their sum, increasing t. */
    float sum = 0.0f;
    for (int t = 0; t < T; t++) {
        const float e = expf(scores[t] - m);
        scores[t] = e;
        sum += e;
    }

    /* feat[c] = sum_t (e_t / sum) * hseq[t][c]: t outer, c inner keeps each
     * feat[c] accumulating in increasing t with contiguous hseq reads. */
    for (int c = 0; c < C; c++) {
        feat[c] = 0.0f;
    }
    for (int t = 0; t < T; t++) {
        const float a = scores[t] / sum;
        const float *row = hseq + (long)t * C;
        for (int c = 0; c < C; c++) {
            feat[c] += a * row[c];
        }
    }
}
```

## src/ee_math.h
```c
/*
 * ee_math.h -- arithmetic of the early-exit pipeline (pure C99)
 * ============================================================
 *
 * Implements exactly the "Exact arithmetic" and "C tail" sections of
 * EE_INTERFACE.md, so the firmware and the Python host reference
 * (export_ee_firmware.py) agree: standardisation, int8 / int16 quantisation
 * and requantisation, stats pooling of an integer tap, the linear exit head,
 * softmax + entropy, argmax, and the float32 tail (bidirectional GRU and
 * attention pooling) that follows stage 3 when EE_HAS_C_TAIL is 1.
 *
 * Integer stage tensors are int8 (EE_ACT_BITS == 8: TFLite full-integer INT8)
 * or int16 (EE_ACT_BITS == 16: TFLite 16x8).  The int16 functions (suffix
 * _i16) apply the same float formulas as their int8 counterparts and clamp to
 * [-32768, 32767] instead of [-128, 127].
 *
 * No Zephyr or TFLM includes and no dynamic allocation (every buffer is the
 * caller's): the same file builds on the host as a shared library for ctypes
 * tests, e.g.
 *     gcc -std=c99 -Wall -Wextra -Werror -O2 -fPIC -shared ee_math.c -o libee_math.so -lm
 * Signatures therefore use only pointers, int and float (ee_gru_weights_t is
 * a struct of four pointers).
 *
 * Buffers never alias unless stated (the requantisations allow q_out == q_in).
 */
#ifndef EE_MATH_H
#define EE_MATH_H

#include <stdint.h>

#ifdef __cplusplus
extern "C" {
#endif

/* Added to p before logf in the entropy (EE_INTERFACE.md). */
#define EE_ENTROPY_EPS 1e-12f

/* round_half_away(v) = sign(v) * floor(|v| + 0.5), computed with C99 roundf. */
float ee_round_half_away(float v);

/* q = clamp(round_half_away(x / scale) + zero_point, -128, 127).
 * Defensive: NaN maps to -128. */
int8_t ee_quantise_value(float x, float scale, int zero_point);

/* Dequantise one int8 value: scale * (q - zero_point). */
float ee_dequantise_value(int8_t q, float scale, int zero_point);

/* x_std[t*C + c] = (raw[t*C + c] - mean[c]) / std[c] for t < n_samples,
 * c < n_channels (row-major [t][c]). */
void ee_standardise(const float *raw, const float *mean, const float *std,
                    int n_samples, int n_channels, float *x_std);

/* q[i] = ee_quantise_value(x[i], scale, zero_point) for i < n. */
void ee_quantise(const float *x, int n, float scale, int zero_point, int8_t *q);

/* int8 -> int8 requantisation of n values.
 * scale_in == scale_out && zp_in == zp_out: plain copy (q_out may equal q_in);
 * otherwise q_out = clamp(round_half_away((q_in - zp_in) * (scale_in / scale_out))
 *                         + zp_out, -128, 127).
 * Returns 1 when the copy path was taken, 0 otherwise. */
int ee_requantise(const int8_t *q_in, int n, float scale_in, int zp_in,
                  float scale_out, int zp_out, int8_t *q_out);

/* Stats pooling over time of an int8 tap q[t*P + p] (t < T, p < P) with the
 * given scale / zero point into feat[3P] = [mean; max; std] (population std,
 * two-pass, float accumulation in increasing t). */
void ee_stats_pool(const int8_t *q, int T, int P, float scale, int zero_point,
                   float *feat);

/* logits[j] = b[j] + sum_d feat[d] * W[d*K + j]   (W row-major [D][K]);
 * float accumulation starts at b[j] and adds the terms in increasing d.
 * Also the C tail's dense layer (D = 2H, W = EE_OUT_W, b = EE_OUT_B) and,
 * inside the GRU, the input and recurrent projections. */
void ee_linear_head(const float *feat, int D, const float *W, const float *b,
                    int K, float *logits);

/* probs = softmax(logits) (max-subtracted); returns the entropy in nats,
 * H = -sum_j p_j * logf(p_j + EE_ENTROPY_EPS).  probs may not alias logits. */
float ee_softmax_entropy(const float *logits, int K, float *probs);

/* Index of the first maximum (ties resolve to the lowest index). */
int ee_argmax_f32(const float *v, int n);
int ee_argmax_i8(const int8_t *v, int n);

/* ---- int16 stage tensors (EE_ACT_BITS == 16) ----------------------------
 * Same formulas as the int8 functions above; the clamping range is
 * [-32768, 32767] (NaN maps to -32768).  Pooling sums are int32, exact for
 * T * 32768 < 2^31, i.e. any T < 65536. */
int16_t ee_quantise_value_i16(float x, float scale, int zero_point);
float ee_dequantise_value_i16(int16_t q, float scale, int zero_point);
void ee_quantise_i16(const float *x, int n, float scale, int zero_point, int16_t *q);
/* Returns 1 when the copy path was taken (equal scale and zero point), else 0. */
int ee_requantise_i16(const int16_t *q_in, int n, float scale_in, int zp_in,
                      float scale_out, int zp_out, int16_t *q_out);
void ee_stats_pool_i16(const int16_t *q, int T, int P, float scale, int zero_point,
                       float *feat);
int ee_argmax_i16(const int16_t *v, int n);

/* ---- C tail (EE_HAS_C_TAIL == 1): float32 BiGRU + attention pooling ------
 * The tail reads stage 3's integer output q[t*D + d] ([T][D], row-major) and
 * dequantises it one time step at a time, x[d] = scale * (q - zero_point), so
 * there is no float copy of the whole sequence.  The dense softmax that ends
 * the tail is ee_linear_head + ee_softmax_entropy + ee_argmax_f32. */

/* Weights of one GRU direction (Keras GRU, reset_after=True; gate blocks
 * z | r | n of H columns each, in that order). */
typedef struct {
    const float *W;   /* [D][3H] row-major: input kernel        */
    const float *U;   /* [H][3H] row-major: recurrent kernel    */
    const float *bi;  /* [3H] input bias     (Keras bias row 0) */
    const float *br;  /* [3H] recurrent bias (Keras bias row 1) */
} ee_gru_weights_t;

/* Floats of the caller's scratch for ee_bigru_i8 / ee_bigru_i16:
 * x[D] (one dequantised step), h[H], xp[3H], hp[3H]. */
#define EE_BIGRU_SCRATCH_FLOATS(D, H) ((D) + 7 * (H))

/* Bidirectional GRU with zero initial state, H units per direction, over the
 * T x D integer sequence q.  For every step:
 *   xp[j] = bi[j] + sum_d x[d] * W[d*3H + j]   (j < 3H, increasing d)
 *   hp[j] = br[j] + sum_u h[u] * U[u*3H + j]   (h of the previous step)
 *   z = sig(xp[j] + hp[j]), r = sig(xp[H+j] + hp[H+j]),
 *   n = tanhf(xp[2H+j] + r * hp[2H+j]), h[j] = z * h[j] + (1 - z) * n   (j < H)
 * with sig(v) = 1 / (1 + expf(-v)).  The forward direction runs t = 0..T-1
 * and writes hseq[t*2H + j]; the backward direction runs t = T-1..0 and
 * writes hseq[t*2H + H + j]; hseq ([T][2H]) is thus in time order.
 * scratch: EE_BIGRU_SCRATCH_FLOATS(D, H) floats. */
void ee_bigru_i8(const int8_t *q, int T, int D, float scale, int zero_point, int H,
                 const ee_gru_weights_t *fwd, const ee_gru_weights_t *bwd,
                 float *hseq, float *scratch);
void ee_bigru_i16(const int16_t *q, int T, int D, float scale, int zero_point, int H,
                  const ee_gru_weights_t *fwd, const ee_gru_weights_t *bwd,
                  float *hseq, float *scratch);

/* Additive attention pooling over time of hseq[t*C + c] (t < T, c < C):
 *   score_t = b + sum_c hseq[t][c] * w[c]   (increasing c)
 *   e_t = expf(score_t - max_t score_t)
 *   feat[c] = sum_t (e_t / sum_t e_t) * hseq[t][c]   (increasing t)
 * scores: T floats of scratch (holds e_t on return). */
void ee_attention_pool(const float *hseq, int T, int C, const float *w, float b,
                       float *scores, float *feat);

#ifdef __cplusplus
}
#endif

#endif /* EE_MATH_H */
```

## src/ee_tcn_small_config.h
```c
/*
 * Early-exit pipeline: input configuration (included by main.c).
 * GENERATED by export_ee_firmware.py -- do not edit by hand.
 * backbone tcn_small, dataset torus9, LOSO subject 540, lambda 0.4, thresholds on rot validation windows.
 * Contract: firmware/EE_INTERFACE.md
 */
#ifndef EE_TCN_SMALL_CONFIG_H
#define EE_TCN_SMALL_CONFIG_H

#define EE_BACKBONE_NAME   "tcn_small"
#define EE_DATASET_NAME    "torus9"
#define EE_SUBJECT         540
#define EE_SAMPLE_RATE_HZ  100
#define EE_WINDOW_SAMPLES  250
#define EE_NUM_CHANNELS    7
#define EE_NUM_CLASSES     9
#define EE_NUM_EXITS       4                 /* 3 early exits + final */

/* per-channel standardisation fitted on the fold's training windows: x_std = (raw - mean) / std */
static const float EE_SCALER_MEAN[EE_NUM_CHANNELS] = {-7.07164335f, -1.96823692f, -2.10296679f, 0.00855398644f, -0.0125188911f, 0.00998301711f, -0.0106359087f};
static const float EE_SCALER_STD[EE_NUM_CHANNELS]  = {4.97932625f, 3.81585646f, 3.59322667f, 1.22069478f, 0.683551729f, 1.31508851f, 0.0385832675f};

static const char *const EE_CLASS_NAMES[EE_NUM_CLASSES] = {"walking", "walking_brisk", "sitting", "standing", "lying", "up_normal", "up_assist", "down_normal", "down_assist"};
static const char *const EE_CHANNEL_NAMES[EE_NUM_CHANNELS] = {"acc_x", "acc_y", "acc_z", "gyro_x", "gyro_y", "gyro_z", "pressure"};

#endif /* EE_TCN_SMALL_CONFIG_H */
```
